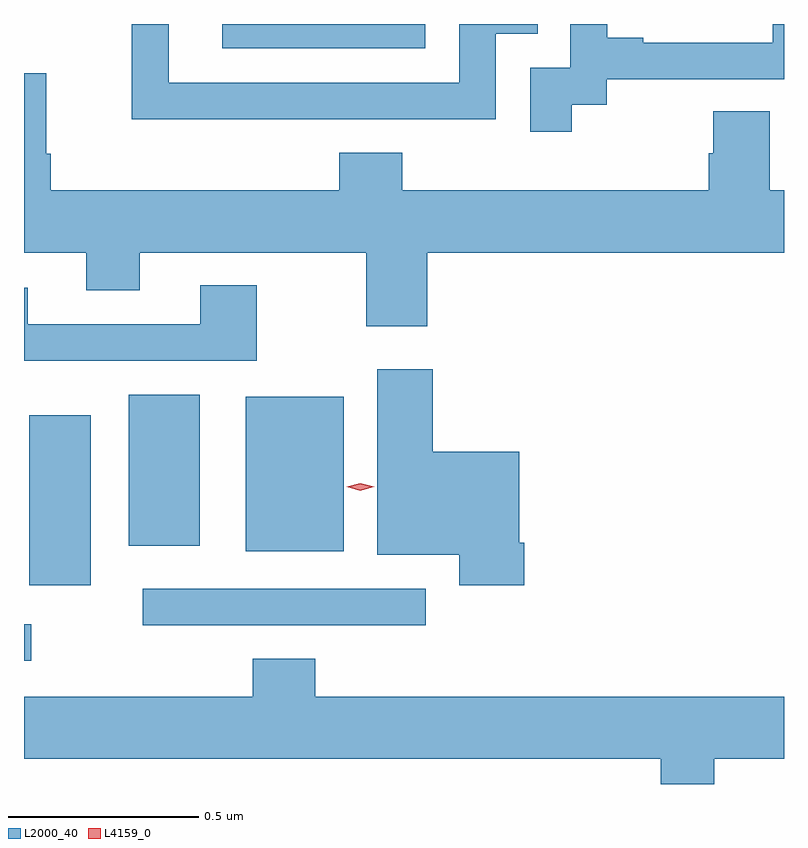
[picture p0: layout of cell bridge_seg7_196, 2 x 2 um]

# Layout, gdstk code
import gdstk
lib = gdstk.Library(unit=1e-6, precision=1e-09)
def R(c, l, rs):  # rectangles x0, y0, x1, y1
    for r in rs: c.add(gdstk.rectangle(r[:2], r[2:], *l))
def P(c, l, *ps):  # polygons
    for p in ps: c.add(gdstk.Polygon(p, *l))
L2000_40 = (2000, 40)
L4159_0 = (4159, 0)

bridge_seg7_196 = lib.new_cell('bridge_seg7_196')
R(bridge_seg7_196, L2000_40, [(374.655,1011.531,374.674,1011.627), (374.967,1011.624,375.712,1011.72), (374.669,1011.729,374.83,1012.177), (375.239,1011.818,375.496,1012.225), (374.93,1011.833,375.118,1012.231), (375.177,1013.142,375.711,1013.206)])
P(bridge_seg7_196, L2000_40, [(375.401,1012.956),(375.897,1012.956),(375.897,1013.181),(376.007,1013.181),(376.007,1013.206),(375.801,1013.206),(375.801,1013.052),(375.036,1013.052),(375.036,1013.206),(374.938,1013.206),(374.938,1012.955),(375.401,1012.955)],
  [(376.096,1012.993),(376.188,1012.993),(376.188,1013.061),(376.655,1013.061),(376.655,1013.206),(376.626,1013.206),(376.626,1013.157),(376.285,1013.157),(376.285,1013.17),(376.19,1013.17),(376.19,1013.206),(376.092,1013.206),(376.092,1013.091),(375.987,1013.091),(375.987,1012.923),(376.096,1012.923)],
  [(375.716,1012.604),(376.655,1012.604),(376.655,1012.768),(376.617,1012.768),(376.617,1012.976),(376.469,1012.976),(376.469,1012.866),(376.457,1012.866),(376.457,1012.768),(375.65,1012.768),(375.65,1012.867),(375.485,1012.867),(375.485,1012.768),(374.726,1012.768),(374.726,1012.864),(374.713,1012.864),(374.713,1013.077),(374.655,1013.077),(374.655,1012.604),(374.819,1012.604),(374.819,1012.505),(374.959,1012.505),(374.959,1012.604),(375.556,1012.604),(375.556,1012.41),(375.716,1012.41)],
  [(375.267,1012.519),(375.119,1012.519),(375.119,1012.416),(374.665,1012.416),(374.665,1012.512),(374.655,1012.512),(374.655,1012.32),(375.267,1012.32)],
  [(375.971,1011.841),(375.958,1011.841),(375.958,1012.081),(375.731,1012.081),(375.731,1012.297),(375.584,1012.297),(375.584,1011.809),(375.8,1011.809),(375.8,1011.729),(375.971,1011.729)],
  [(376.471,1011.272),(376.655,1011.272),(376.655,1011.436),(375.422,1011.436),(375.422,1011.535),(375.257,1011.535),(375.257,1011.436),(374.655,1011.436),(374.655,1011.272),(376.331,1011.272),(376.331,1011.206),(376.471,1011.206)])
P(bridge_seg7_196, L4159_0, [(375.54,1011.978),(375.504,1011.988),(375.504,1011.988),(375.504,1011.988),(375.54,1011.998),(375.577,1011.988),(375.577,1011.988),(375.577,1011.988)])

lib.write_gds('bridge_seg7_196.gds')
